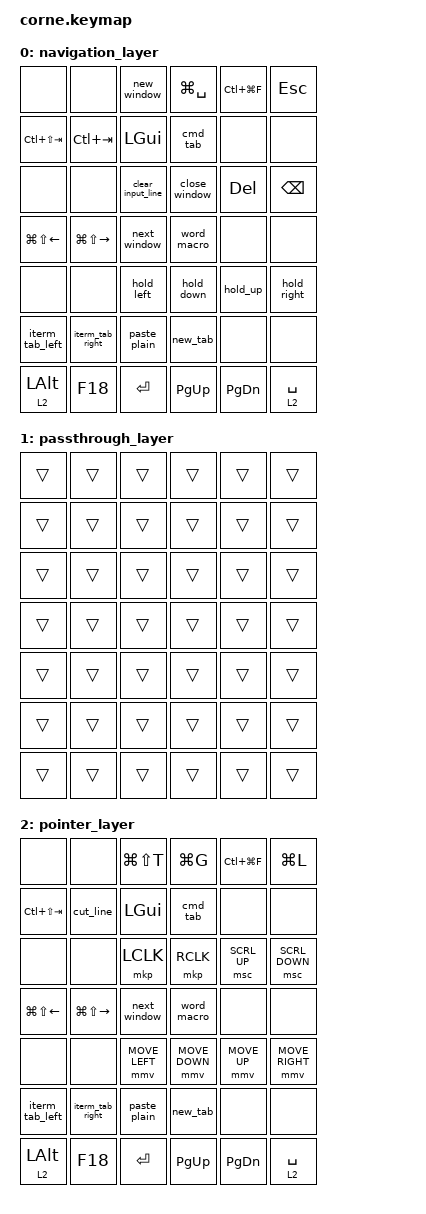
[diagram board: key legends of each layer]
/* Korn split — terminal tabs layout v2
 *
 * Matrix: 12-wide interleaved rows (left 6 outer→inner, right 6 inner→outer),
 * then thumbs (L outer→inner, R inner→outer).
 *
 * Layers: navigation (0), passthrough (1), pointer (2).
 * LT0 / RT2 hold layer 2; tap Option / Space (RT2 tap TBD).
 * Main L1.5 = Backspace; R0.3 = cmd_tab; pointer L0.5 = LG(L); L1.4–L1.5 scroll; R0.1 cut_line; LT1 = F18.
 * One-shot tap macros for window/tab/Cmd chords (no macOS key-repeat).
 * hjkl arrows use press/pause/release macros for OS key repeat on layer 0.
 */

#include <behaviors.dtsi>
#include <dt-bindings/zmk/keys.h>
#include <dt-bindings/zmk/bt.h>
#include <dt-bindings/zmk/pointing.h>

/ {
    behaviors {
        close_window: macro_close_window {
            compatible = "zmk,behavior-macro";
            label = "CLOSE_WINDOW";
            #binding-cells = <0>;
            wait-ms = <0>;
            tap-ms = <30>;
            bindings = <&kp LG(W)>;
        };

        new_window: macro_new_window {
            compatible = "zmk,behavior-macro";
            label = "NEW_WINDOW";
            #binding-cells = <0>;
            wait-ms = <0>;
            tap-ms = <30>;
            bindings = <&kp LG(N)>;
        };

        next_window: macro_next_window {
            compatible = "zmk,behavior-macro";
            label = "NEXT_WINDOW";
            #binding-cells = <0>;
            wait-ms = <0>;
            tap-ms = <30>;
            bindings = <&kp LG(GRAVE)>;
        };

        new_tab: macro_new_tab {
            compatible = "zmk,behavior-macro";
            label = "NEW_TAB";
            #binding-cells = <0>;
            wait-ms = <0>;
            tap-ms = <30>;
            bindings = <&kp LG(T)>;
        };

        cmd_tab: macro_cmd_tab {
            compatible = "zmk,behavior-macro";
            label = "CMD_TAB";
            #binding-cells = <0>;
            wait-ms = <0>;
            tap-ms = <30>;
            bindings = <&kp LG(TAB)>;
        };

        clear_input_line: macro_clear_input_line {
            compatible = "zmk,behavior-macro";
            label = "CLEAR_INPUT_LINE";
            #binding-cells = <0>;
            wait-ms = <15>;
            tap-ms = <30>;
            bindings = <&kp LC(A) &kp LC(K)>;
        };

        cut_line: macro_cut_line {
            compatible = "zmk,behavior-macro";
            label = "CUT_LINE";
            #binding-cells = <0>;
            wait-ms = <15>;
            tap-ms = <30>;
            bindings = <&kp LG(LEFT) &kp LG(LS(RIGHT)) &kp LG(X)>;
        };

        word_macro: macro_word_custom {
            compatible = "zmk,behavior-macro";
            label = "WORD_MACRO";
            #binding-cells = <0>;
            wait-ms = <0>;
            tap-ms = <30>;
            bindings = <&kp LC(LA(C))>;
        };

        iterm_tab_left: macro_iterm_tab_left {
            compatible = "zmk,behavior-macro";
            label = "ITERM_TAB_LEFT";
            #binding-cells = <0>;
            wait-ms = <0>;
            tap-ms = <30>;
            bindings = <&kp LG(LEFT)>;
        };

        iterm_tab_right: macro_iterm_tab_right {
            compatible = "zmk,behavior-macro";
            label = "ITERM_TAB_RIGHT";
            #binding-cells = <0>;
            wait-ms = <0>;
            tap-ms = <30>;
            bindings = <&kp LG(RIGHT)>;
        };

        paste_plain: macro_paste_plain {
            compatible = "zmk,behavior-macro";
            label = "PASTE_PLAIN";
            #binding-cells = <0>;
            wait-ms = <0>;
            tap-ms = <30>;
            bindings = <&kp LG(V)>;
        };

        hold_left: macro_hold_left {
            compatible = "zmk,behavior-macro";
            label = "HOLD_LEFT";
            #binding-cells = <0>;
            wait-ms = <0>;
            tap-ms = <0>;
            bindings =
                <&macro_press &kp LEFT>
                , <&macro_pause_for_release>
                , <&macro_release &kp LEFT>;
        };

        hold_down: macro_hold_down {
            compatible = "zmk,behavior-macro";
            label = "HOLD_DOWN";
            #binding-cells = <0>;
            wait-ms = <0>;
            tap-ms = <0>;
            bindings =
                <&macro_press &kp DOWN>
                , <&macro_pause_for_release>
                , <&macro_release &kp DOWN>;
        };

        hold_up: macro_hold_up {
            compatible = "zmk,behavior-macro";
            label = "HOLD_UP";
            #binding-cells = <0>;
            wait-ms = <0>;
            tap-ms = <0>;
            bindings =
                <&macro_press &kp UP>
                , <&macro_pause_for_release>
                , <&macro_release &kp UP>;
        };

        hold_right: macro_hold_right {
            compatible = "zmk,behavior-macro";
            label = "HOLD_RIGHT";
            #binding-cells = <0>;
            wait-ms = <0>;
            tap-ms = <0>;
            bindings =
                <&macro_press &kp RIGHT>
                , <&macro_pause_for_release>
                , <&macro_release &kp RIGHT>;
        };
    };

    keymap {
        compatible = "zmk,keymap";

        navigation_layer {
            bindings = <
                /* Top: L0.0–L0.5 | R0.0–R0.5 */
                &none  &none  &new_window  &kp LG(SPACE)  &kp LC(LG(F))  &kp ESC
                &kp LC(LS(TAB))  &kp LC(TAB)  &kp LGUI  &cmd_tab  &none  &none

                /* Home: L1.0–L1.5 | R1.0–R1.5 */
                &none  &none  &clear_input_line  &close_window  &kp DEL  &kp BACKSPACE
                &kp LG(LS(LEFT))  &kp LG(LS(RIGHT))  &next_window  &word_macro  &none  &none

                /* Bottom: L2.0–L2.5 | R2.0–R2.5 — L2.2–L2.5 = vim hjkl */
                &none  &none  &hold_left  &hold_down  &hold_up  &hold_right
                &iterm_tab_left  &iterm_tab_right  &paste_plain  &new_tab  &none  &none

                /* Thumbs: LT0–LT2 | RT0–RT2 */
                &lt 2 LALT  &kp F18  &kp RET  &kp PAGE_UP  &kp PAGE_DOWN  &lt 2 SPACE
            >;
        };

        passthrough_layer {
            bindings = <
                &trans  &trans  &trans  &trans  &trans  &trans
                &trans  &trans  &trans  &trans  &trans  &trans
                &trans  &trans  &trans  &trans  &trans  &trans
                &trans  &trans  &trans  &trans  &trans  &trans
                &trans  &trans  &trans  &trans  &trans  &trans
                &trans  &trans  &trans  &trans  &trans  &trans
                &trans  &trans  &trans  &trans  &trans  &trans
            >;
        };

        pointer_layer {
            bindings = <
                /* Top: layer-2 left overrides; right same as main */
                &none  &none  &kp LG(LS(T))  &kp LG(G)  &kp LC(LG(F))  &kp LG(L)
                &kp LC(LS(TAB))  &cut_line  &kp LGUI  &cmd_tab  &none  &none

                /* Home: clicks + scroll on left; right same as main */
                &none  &none  &mkp LCLK  &mkp RCLK  &msc SCRL_UP  &msc SCRL_DOWN
                &kp LG(LS(LEFT))  &kp LG(LS(RIGHT))  &next_window  &word_macro  &none  &none

                /* Bottom: pointer move on left; right same as main */
                &none  &none  &mmv MOVE_LEFT  &mmv MOVE_DOWN  &mmv MOVE_UP  &mmv MOVE_RIGHT
                &iterm_tab_left  &iterm_tab_right  &paste_plain  &new_tab  &none  &none

                /* Thumbs: same as main */
                &lt 2 LALT  &kp F18  &kp RET  &kp PAGE_UP  &kp PAGE_DOWN  &lt 2 SPACE
            >;
        };
    };
};
